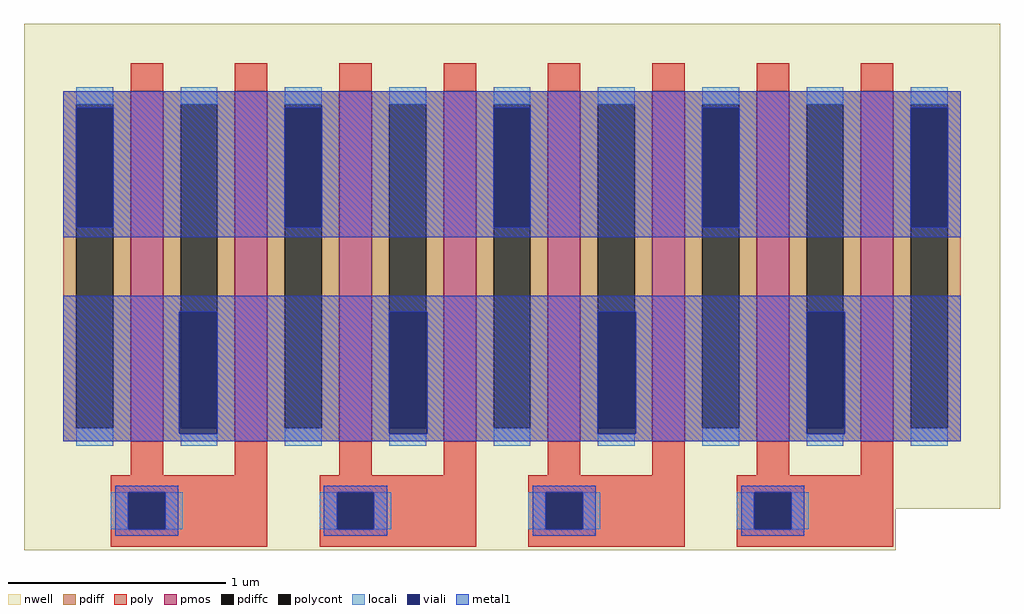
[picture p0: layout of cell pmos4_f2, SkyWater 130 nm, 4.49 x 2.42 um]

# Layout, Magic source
magic
tech sky130B
magscale 1 2
<< nwell >>
rect -449 -223 449 223
rect -449 -261 353 -223
<< pmos >>
rect -351 -161 -321 161
rect -255 -161 -225 161
rect -159 -161 -129 161
rect -63 -161 -33 161
rect 33 -161 63 161
rect 129 -161 159 161
rect 225 -161 255 161
rect 321 -161 351 161
<< pdiff >>
rect -413 149 -351 161
rect -413 -149 -401 149
rect -367 -149 -351 149
rect -413 -161 -351 -149
rect -321 149 -255 161
rect -321 -149 -305 149
rect -271 -149 -255 149
rect -321 -161 -255 -149
rect -225 149 -159 161
rect -225 -149 -209 149
rect -175 -149 -159 149
rect -225 -161 -159 -149
rect -129 149 -63 161
rect -129 -149 -113 149
rect -79 -149 -63 149
rect -129 -161 -63 -149
rect -33 149 33 161
rect -33 -149 -17 149
rect 17 -149 33 149
rect -33 -161 33 -149
rect 63 149 129 161
rect 63 -149 79 149
rect 113 -149 129 149
rect 63 -161 129 -149
rect 159 149 225 161
rect 159 -149 175 149
rect 209 -149 225 149
rect 159 -161 225 -149
rect 255 149 321 161
rect 255 -149 271 149
rect 305 -149 321 149
rect 255 -161 321 -149
rect 351 149 413 161
rect 351 -149 367 149
rect 401 -149 413 149
rect 351 -161 413 -149
<< pdiffc >>
rect -401 -149 -367 149
rect -305 -149 -271 149
rect -209 -149 -175 149
rect -113 -149 -79 149
rect -17 -149 17 149
rect 79 -149 113 149
rect 175 -149 209 149
rect 271 -149 305 149
rect 367 -149 401 149
<< poly >>
rect -351 161 -321 187
rect -255 161 -225 187
rect -159 161 -129 187
rect -63 161 -33 187
rect 33 161 63 187
rect 129 161 159 187
rect 225 161 255 187
rect 321 161 351 187
rect -351 -192 -321 -161
rect -255 -192 -225 -161
rect -159 -192 -129 -161
rect -63 -192 -33 -161
rect 33 -192 63 -161
rect 129 -192 159 -161
rect 225 -192 255 -161
rect 321 -192 351 -161
rect -369 -208 -225 -192
rect -369 -242 -353 -208
rect -319 -242 -225 -208
rect -369 -258 -225 -242
rect -177 -208 -33 -192
rect -177 -242 -161 -208
rect -127 -242 -33 -208
rect -177 -258 -33 -242
rect 15 -208 159 -192
rect 15 -242 31 -208
rect 65 -242 159 -208
rect 15 -258 159 -242
rect 207 -208 351 -192
rect 207 -242 223 -208
rect 257 -242 351 -208
rect 207 -258 351 -242
<< polycont >>
rect -353 -242 -319 -208
rect -161 -242 -127 -208
rect 31 -242 65 -208
rect 223 -242 257 -208
<< locali >>
rect -401 149 -367 165
rect -305 149 -271 165
rect -401 -165 -367 -149
rect -305 -165 -271 -154
rect -209 149 -175 165
rect -209 -165 -175 -149
rect -113 149 -79 165
rect -17 149 17 165
rect -113 -165 -79 -154
rect -17 -165 17 -149
rect 79 149 113 165
rect 175 149 209 165
rect 79 -165 113 -154
rect 175 -165 209 -149
rect 271 149 305 165
rect 367 149 401 165
rect 271 -165 305 -154
rect 367 -165 401 -149
rect -369 -242 -353 -208
rect -319 -242 -303 -208
rect -177 -242 -161 -208
rect -127 -242 -111 -208
rect 15 -242 31 -208
rect 65 -242 81 -208
rect 207 -242 223 -208
rect 257 -242 273 -208
<< viali >>
rect -401 36 -367 146
rect -306 -149 -305 -42
rect -305 -149 -271 -42
rect -306 -154 -271 -149
rect -209 36 -175 146
rect -17 36 17 146
rect -113 -149 -79 -42
rect -79 -149 -78 -42
rect -113 -154 -78 -149
rect 175 36 209 146
rect 79 -149 113 -42
rect 113 -149 114 -42
rect 79 -154 114 -149
rect 367 36 401 146
rect 271 -149 305 -42
rect 305 -149 306 -42
rect 271 -154 306 -149
rect -353 -242 -319 -208
rect -161 -242 -127 -208
rect 31 -242 65 -208
rect 223 -242 257 -208
<< metal1 >>
rect -413 146 413 161
rect -413 36 -401 146
rect -367 36 -209 146
rect -175 36 -17 146
rect 17 36 175 146
rect 209 36 367 146
rect 401 36 413 146
rect -413 27 413 36
rect -413 -42 413 -27
rect -413 -154 -306 -42
rect -271 -154 -113 -42
rect -78 -154 79 -42
rect 114 -154 271 -42
rect 306 -154 413 -42
rect -413 -161 413 -154
rect -365 -208 -307 -202
rect -365 -242 -353 -208
rect -319 -242 -307 -208
rect -365 -248 -307 -242
rect -173 -208 -115 -202
rect -173 -242 -161 -208
rect -127 -242 -115 -208
rect -173 -248 -115 -242
rect 19 -208 77 -202
rect 19 -242 31 -208
rect 65 -242 77 -208
rect 19 -248 77 -242
rect 211 -208 269 -202
rect 211 -242 223 -208
rect 257 -242 269 -208
rect 211 -248 269 -242
<< properties >>
string gencell sky130_fd_pr__pfet_01v8
string library sky130
string parameters w 1.605 l 0.15 m 1 nf 8 diffcov 100 polycov 100 guard 0 glc 1 grc 1 gtc 1 gbc 1 tbcov 100 rlcov 100 topc 1 botc 1 poverlap 0 doverlap 1 lmin 0.15 wmin 0.42 compatible {sky130_fd_pr__pfet_01v8  sky130_fd_pr__pfet_01v8_lvt sky130_fd_pr__pfet_01v8_hvt  sky130_fd_pr__pfet_g5v0d10v5} full_metal 1 viasrc 100 viadrn 100 viagate 100 viagb 0 viagr 0 viagl 0 viagt 0
<< end >>
